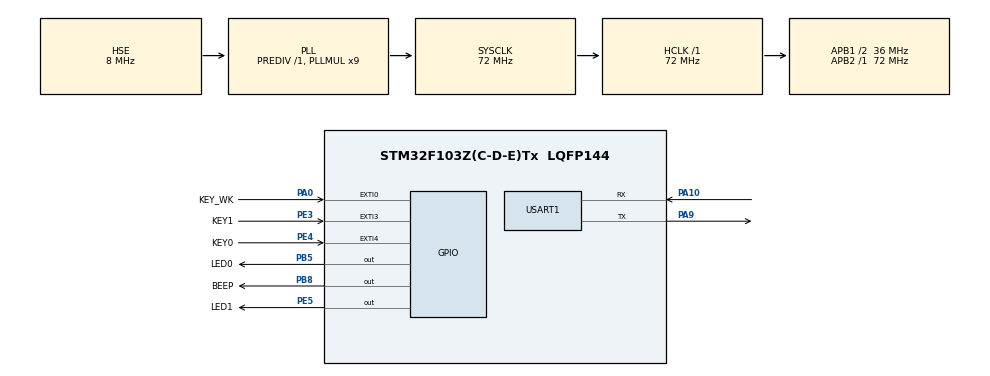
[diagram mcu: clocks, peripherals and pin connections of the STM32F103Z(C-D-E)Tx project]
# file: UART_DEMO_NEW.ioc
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IWDG.Prescaler=IWDG_PRESCALER_8
IWDG.Reload=350
Mcu.Family=STM32F1
Mcu.Name=STM32F103Z(C-D-E)Tx
Mcu.Package=LQFP144
NVIC.EXTI0_IRQn=true\:1\:2\:true\:false\:true\:true\:true
NVIC.EXTI3_IRQn=true\:1\:2\:true\:false\:true\:true\:true
NVIC.EXTI4_IRQn=true\:1\:2\:true\:false\:true\:true\:true
NVIC.PriorityGroup=NVIC_PRIORITYGROUP_2
NVIC.USART1_IRQn=true\:2\:2\:true\:false\:true\:true\:true
OSC_IN.Mode=HSE-External-Oscillator
OSC_IN.Signal=RCC_OSC_IN
OSC_OUT.Mode=HSE-External-Oscillator
OSC_OUT.Signal=RCC_OSC_OUT
PA0-WKUP.GPIO_Label=KEY_WK
PA0-WKUP.GPIO_PuPd=GPIO_PULLDOWN
PA0-WKUP.Signal=GPXTI0
PA10.Mode=Asynchronous
PA10.Signal=USART1_RX
PA9.Mode=Asynchronous
PA9.Signal=USART1_TX
PB5.GPIO_Label=LED0
PB5.GPIO_Speed=GPIO_SPEED_FREQ_HIGH
PB5.Signal=GPIO_Output
PB8.GPIO_Label=BEEP
PB8.Signal=GPIO_Output
PE3.GPIO_Label=KEY1
PE3.GPIO_PuPd=GPIO_PULLUP
PE3.Signal=GPXTI3
PE4.GPIO_Label=KEY0
PE4.GPIO_PuPd=GPIO_PULLUP
PE4.Signal=GPXTI4
PE5.GPIO_Label=LED1
PE5.GPIO_Speed=GPIO_SPEED_FREQ_HIGH
PE5.Signal=GPIO_Output
ProjectManager.HeapSize=0x200
ProjectManager.StackSize=0x400
ProjectManager.TargetToolchain=Makefile
RCC.AHBFreq_Value=72000000
RCC.APB1CLKDivider=RCC_HCLK_DIV2
RCC.APB1Freq_Value=36000000
RCC.APB1TimFreq_Value=72000000
RCC.APB2Freq_Value=72000000
RCC.APB2TimFreq_Value=72000000
RCC.HCLKFreq_Value=72000000
RCC.PLLMUL=RCC_PLL_MUL9
RCC.PLLSourceVirtual=RCC_PLLSOURCE_HSE
RCC.SYSCLKFreq_VALUE=72000000
RCC.SYSCLKSource=RCC_SYSCLKSOURCE_PLLCLK
RCC.USBFreq_Value=72000000
USART1.VirtualMode=VM_ASYNC
VP_IWDG_VS_IWDG.Mode=IWDG_Activate
VP_SYS_VS_ND.Mode=No_Debug
board=custom

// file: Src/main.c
/* USER CODE BEGIN Header */
/**
 ******************************************************************************
 * @file           : main.c
 * @brief          : Main program body
 ******************************************************************************
 * @attention
 *
 * <h2><center>&copy; Copyright (c) 2022 STMicroelectronics.
 * All rights reserved.</center></h2>
 *
 * This software component is licensed by ST under BSD 3-Clause license,
 * the "License"; You may not use this file except in compliance with the
 * License. You may obtain a copy of the License at:
 *                        opensource.org/licenses/BSD-3-Clause
 *
 ******************************************************************************
 */
/* USER CODE END Header */
#include "main.h"
#include "iwdg.h"
#include "usart.h"
#include "gpio.h"

/* USER CODE BEGIN Includes */
#include "vlog.h"
#include "message.h"
#include "LED.h"
#include "callback.h"
/* USER CODE END Includes */

void SystemClock_Config(void);

/* USER CODE BEGIN 0 */
Message_t message;
bool isGetNewFrame = false;
LED_State *pLedState = (LED_State *)message.data;
board_message_t board_message;
/* USER CODE END 0 */

int main(void)
{

  /* MCU Configuration--------------------------------------------------------*/

  /* Reset of all peripherals, Initializes the Flash interface and the Systick. */
  HAL_Init();

  /* Configure the system clock */
  SystemClock_Config();

  /* Initialize all configured peripherals */
  MX_GPIO_Init();
  MX_USART1_UART_Init();
  MX_IWDG_Init();
  /* USER CODE BEGIN 2 */
  readyRecv_IT(sizeof(MessageSerial_t));
  initCallback();
  uint32_t tickstart = HAL_GetTick();
  uint32_t tickend = 0;
  uint32_t idx = 0;
  /* USER CODE END 2 */

  /* Infinite loop */
  /* USER CODE BEGIN WHILE */
  while (1)
  {
    if (isGetNewFrame)
    {
      messageProceccRun(&message, &board_message);
      isGetNewFrame = false;
    }
    /* USER CODE END WHILE */

    /* USER CODE BEGIN 3 */
    HAL_Delay(50);
    tickend = HAL_GetTick();
    Log(I, "[ %03d ]  use time %lu", idx++, tickend - tickstart);
    tickstart = tickend;
    HAL_IWDG_Refresh(&hiwdg);
  }
  /* USER CODE END 3 */
}

void SystemClock_Config(void)
{
  RCC_OscInitTypeDef RCC_OscInitStruct = {0};
  RCC_ClkInitTypeDef RCC_ClkInitStruct = {0};

  /** Initializes the RCC Oscillators according to the specified parameters
   * in the RCC_OscInitTypeDef structure.
   */
  RCC_OscInitStruct.OscillatorType = RCC_OSCILLATORTYPE_LSI | RCC_OSCILLATORTYPE_HSE;
  RCC_OscInitStruct.HSEState = RCC_HSE_ON;
  RCC_OscInitStruct.HSEPredivValue = RCC_HSE_PREDIV_DIV1;
  RCC_OscInitStruct.HSIState = RCC_HSI_ON;
  RCC_OscInitStruct.LSIState = RCC_LSI_ON;
  RCC_OscInitStruct.PLL.PLLState = RCC_PLL_ON;
  RCC_OscInitStruct.PLL.PLLSource = RCC_PLLSOURCE_HSE;
  RCC_OscInitStruct.PLL.PLLMUL = RCC_PLL_MUL9;
  if (HAL_RCC_OscConfig(&RCC_OscInitStruct) != HAL_OK)
  {
    Error_Handler();
  }
  /** Initializes the CPU, AHB and APB buses clocks
   */
  RCC_ClkInitStruct.ClockType = RCC_CLOCKTYPE_HCLK | RCC_CLOCKTYPE_SYSCLK | RCC_CLOCKTYPE_PCLK1 | RCC_CLOCKTYPE_PCLK2;
  RCC_ClkInitStruct.SYSCLKSource = RCC_SYSCLKSOURCE_PLLCLK;
  RCC_ClkInitStruct.AHBCLKDivider = RCC_SYSCLK_DIV1;
  RCC_ClkInitStruct.APB1CLKDivider = RCC_HCLK_DIV2;
  RCC_ClkInitStruct.APB2CLKDivider = RCC_HCLK_DIV1;

  if (HAL_RCC_ClockConfig(&RCC_ClkInitStruct, FLASH_LATENCY_2) != HAL_OK)
  {
    Error_Handler();
  }
}

void Error_Handler(void)
{
  __disable_irq();
  while (1)
  {
  }
}

/************************ (C) COPYRIGHT STMicroelectronics *****END OF FILE****/
